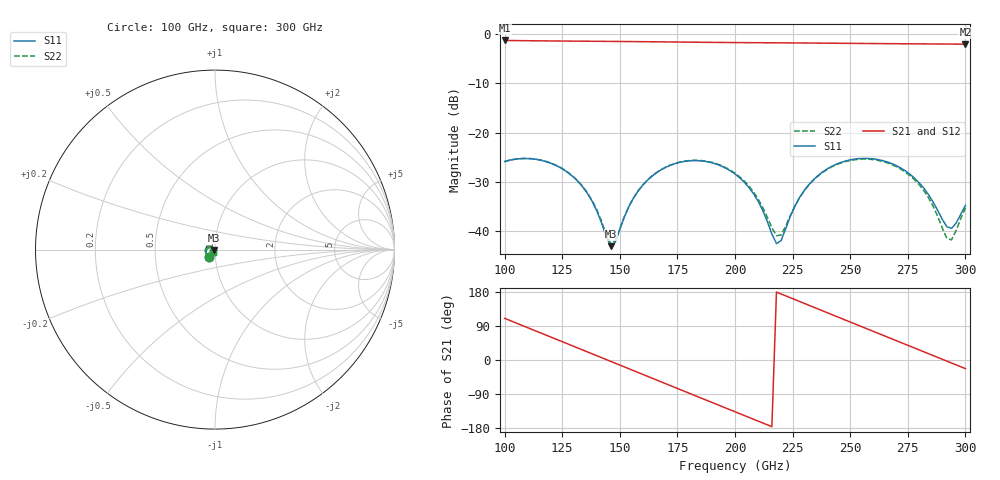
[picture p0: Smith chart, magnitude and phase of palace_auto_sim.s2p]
#  GHZ S DB R 50
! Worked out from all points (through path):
!   101 points, 100 GHz to 300 GHz, reference 50 ohm
!   highest |S21| = -1.38 dB at 100 GHz (marker M1); lowest = -2.1 dB at 300 GHz (marker M2)
!   group delay of S21, straight-line fit = 6.84 ps
!   lowest |S11| = -43.0 dB at 146 GHz (marker M3), VSWR 1.01, Z = 49.3 - j0.135 ohm
!   |S11| at or under -10 dB: start of sweep to end of sweep
!   |S22| runs from -42.4 to -25.2 dB; largest |S21 - S12| = 1.4e-13
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100  -25.87 -130.6  -1.38 110.0  -1.38 110.0  -25.86 -130.9
116  -25.63 -168.4  -1.46 70.5  -1.46 70.5  -25.59 -168.2
134  -31.06 154.7  -1.53 26.2  -1.53 26.2  -30.95 155.4
140  -35.81 151.2  -1.55 11.4  -1.55 11.4  -35.61 152.2
146  -42.98 -168.9  -1.57 -3.4  -1.57 -3.4  -42.43 -169.4
148  -42.23 -138.6  -1.58 -8.4  -1.58 -8.4  -41.86 -140.8
158  -31.79 -114.0  -1.62 -33.1  -1.62 -33.1  -31.76 -114.6
168  -27.51 -131.6  -1.66 -57.8  -1.66 -57.8  -27.48 -131.8
184  -25.69 -166.5  -1.74 -97.2  -1.74 -97.2  -25.62 -166.2
200  -28.38 159.7  -1.81 -136.6  -1.81 -136.6  -28.22 160.7
210  -33.86 146.4  -1.84 -161.1  -1.84 -161.1  -33.43 148.7
218  -42.44 -173.8  -1.86 179.2  -1.86 179.2  -40.87 -176.7
220  -41.85 -145.3  -1.86 174.2  -1.86 174.2  -40.72 -153.0
226  -34.87 -116.6  -1.88 159.4  -1.88 159.4  -34.86 -122.3
234  -29.56 -123.5  -1.91 139.7  -1.91 139.7  -29.66 -127.0
244  -26.40 -142.0  -1.94 115.0  -1.94 115.0  -26.51 -144.8
252  -25.36 -158.5  -1.98 95.3  -1.98 95.3  -25.49 -161.1
268  -26.27 168.8  -2.03 56.0  -2.03 56.0  -26.46 165.6
282  -31.28 147.9  -2.08 21.6  -2.08 21.6  -31.77 142.4
292  -39.06 175.2  -2.10 -3.0  -2.10 -3.0  -41.46 172.9
294  -39.38 -165.3  -2.11 -8.0  -2.11 -8.0  -41.69 -160.0
300  -34.74 -131.4  -2.13 -22.7  -2.13 -22.7  -35.22 -124.4
